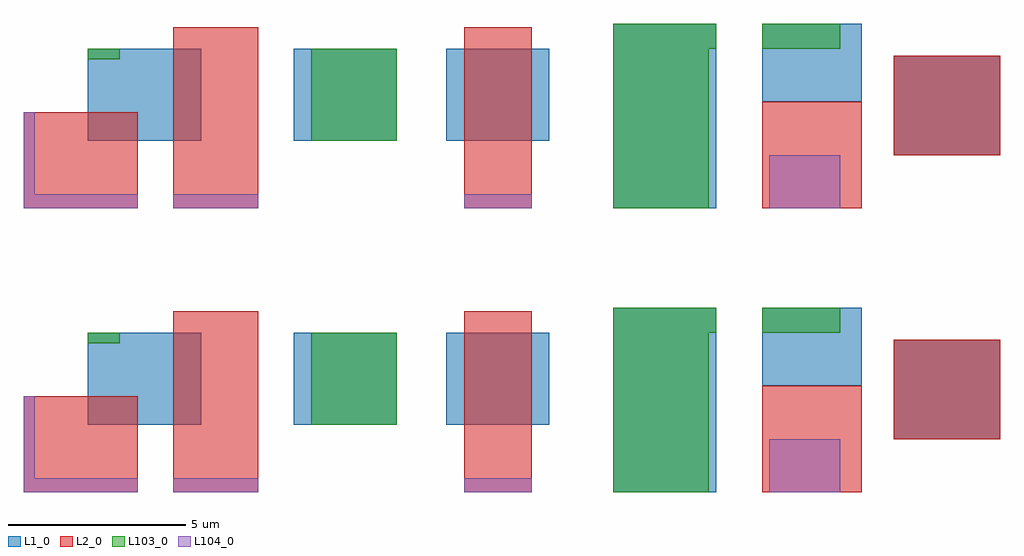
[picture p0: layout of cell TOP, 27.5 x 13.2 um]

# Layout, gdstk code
import gdstk
lib = gdstk.Library(unit=1e-6, precision=1e-09)
def R(c, l, rs):  # rectangles x0, y0, x1, y1
    for r in rs: c.add(gdstk.rectangle(r[:2], r[2:], *l))
def P(c, l, *ps):  # polygons
    for p in ps: c.add(gdstk.Polygon(p, *l))
L1_0 = (1, 0)
L2_0 = (2, 0)
L103_0 = (103, 0)
L104_0 = (104, 0)

child2 = lib.new_cell('CHILD2')
R(child2, L1_0, [(2.85,-2.6,5.75,2.6)])
R(child2, L2_0, [(-13.75,-2.6,-10.55,0.1), (-9.55,-2.6,-7.15,2.5), (-1.35,-2.6,0.55,2.5), (7.05,-2.6,9.85,0.4), (10.75,-1.1,13.75,1.7)])
P(child2, L103_0, [(2.85,-2.6),(2.85,2.6),(5.75,2.6),(5.75,1.9),(5.55,1.9),(5.55,-2.6)])
R(child2, L104_0, [(-9.55,-2.6,-7.15,-2.2), (-1.35,-2.6,0.55,-2.2), (7.25,-2.6,9.25,-1.1)])
P(child2, L104_0, [(-13.75,-2.6),(-13.75,0.1),(-13.45,0.1),(-13.45,-2.2),(-10.55,-2.2),(-10.55,-2.6)])

child1 = lib.new_cell('CHILD1')
R(child1, L1_0, [(22.7,0,25.7,2.8), (0,0.4,3.2,3), (5.8,0.4,8.7,3), (10.1,0.4,13,3), (19,1.5,21.8,3.7)])
R(child1, L103_0, [(6.3,0.4,8.7,3), (0,2.7,0.9,3), (19,3,21.2,3.7)])

top = lib.new_cell('TOP')
R(top, L1_0, [(24.5,1.5,27.5,4.3), (1.8,1.9,5,4.5), (7.6,1.9,10.5,4.5), (11.9,1.9,14.8,4.5), (20.8,3,23.6,5.2), (16.6,8,19.5,13.2)])
R(top, L2_0, [(0,8,3.2,10.7), (4.2,8,6.6,13.1), (12.4,8,14.3,13.1), (20.8,8,23.6,11), (24.5,9.5,27.5,12.3)])
R(top, L103_0, [(8.1,1.9,10.5,4.5), (1.8,4.2,2.7,4.5), (20.8,4.5,23,5.2)])
P(top, L103_0, [(16.6,8),(16.6,13.2),(19.5,13.2),(19.5,12.5),(19.3,12.5),(19.3,8)])
R(top, L104_0, [(4.2,8,6.6,8.4), (12.4,8,14.3,8.4), (21,8,23,9.5)])
P(top, L104_0, [(0,8),(0,10.7),(0.3,10.7),(0.3,8.4),(3.2,8.4),(3.2,8)])
top.add(gdstk.Reference(child2, (13.75,2.6)))
top.add(gdstk.Reference(child1, (1.8,9.5)))

lib.write_gds('TOP.gds')
